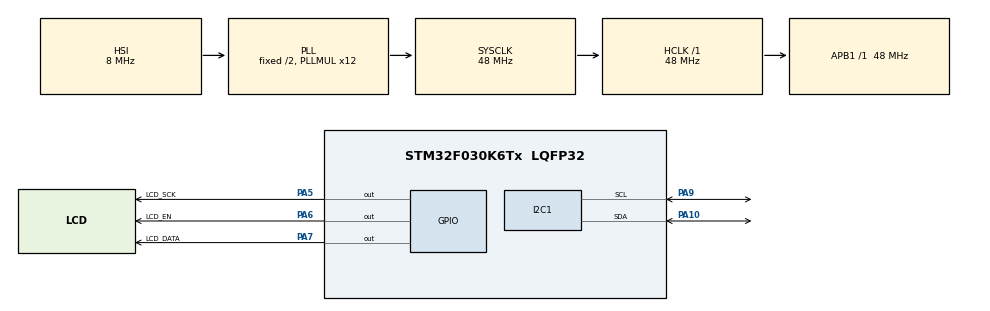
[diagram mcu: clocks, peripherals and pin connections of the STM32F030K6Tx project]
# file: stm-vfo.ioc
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Mcu.Family=STM32F0
Mcu.Name=STM32F030K6Tx
Mcu.Package=LQFP32
PA10.GPIO_Pu=GPIO_PULLUP
PA10.Mode=I2C
PA10.Signal=I2C1_SDA
PA5.GPIO_Label=LCD_SCK
PA5.Signal=GPIO_Output
PA6.GPIO_Label=LCD_EN
PA6.Signal=GPIO_Output
PA7.GPIO_Label=LCD_DATA
PA7.Signal=GPIO_Output
PA9.GPIO_Pu=GPIO_PULLUP
PA9.Mode=I2C
PA9.Signal=I2C1_SCL
ProjectManager.HeapSize=0x200
ProjectManager.StackSize=0x400
ProjectManager.TargetToolchain=STM32CubeIDE
RCC.AHBFreq_Value=48000000
RCC.APB1Freq_Value=48000000
RCC.APB1TimFreq_Value=48000000
RCC.HCLKFreq_Value=48000000
RCC.PLLMUL=RCC_PLL_MUL12
RCC.SYSCLKFreq_VALUE=48000000
RCC.SYSCLKSource=RCC_SYSCLKSOURCE_PLLCLK
board=custom

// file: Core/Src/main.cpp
/* USER CODE BEGIN Header */
/**
  ******************************************************************************
  * @file           : main.c
  * @brief          : Main program body
  ******************************************************************************
  * @attention
  *
  * Copyright (c) 2023 STMicroelectronics.
  * All rights reserved.
  *
  * This software is licensed under terms that can be found in the LICENSE file
  * in the root directory of this software component.
  * If no LICENSE file comes with this software, it is provided AS-IS.
  *
  ******************************************************************************
  */
/* USER CODE END Header */
#include "main.h"

/* USER CODE BEGIN Includes */
#include "lcd.h"
#include "encoder.h"
#include "si5351.h"
/* USER CODE END Includes */

I2C_HandleTypeDef hi2c1;

/* USER CODE BEGIN PV */
LCD lcd;
Si5351 si5351;
/* USER CODE END PV */

void SystemClock_Config(void);
static void MX_GPIO_Init(void);
static void MX_I2C1_Init(void);

int main(void)
{

  /* MCU Configuration--------------------------------------------------------*/

  /* Reset of all peripherals, Initializes the Flash interface and the Systick. */
  HAL_Init();

  /* Configure the system clock */
  SystemClock_Config();

  /* Initialize all configured peripherals */
  MX_GPIO_Init();
  MX_I2C1_Init();
  /* USER CODE BEGIN 2 */
  lcd.init();

  lcd.setCursor(0, 0);
  lcd.print("Hello world");

  si5351.init(&hi2c1, SI5351_CRYSTAL_LOAD_10PF, SI5351_XTAL_FREQ, 0);
  si5351.set_freq(6100000 * 100ULL, SI5351_CLK0);
  si5351.set_freq(3100000 * 100ULL, SI5351_CLK1);
  si5351.set_freq(100000 * 100ULL, SI5351_CLK2);

  si5351.output_enable(SI5351_CLK0, true);
  si5351.output_enable(SI5351_CLK1, true);
  si5351.output_enable(SI5351_CLK2, true);
  /* USER CODE END 2 */

  /* Infinite loop */
  while (1)
  {

  }
}

void SystemClock_Config(void)
{
  RCC_OscInitTypeDef RCC_OscInitStruct = {0};
  RCC_ClkInitTypeDef RCC_ClkInitStruct = {0};
  RCC_PeriphCLKInitTypeDef PeriphClkInit = {0};

  /** Initializes the RCC Oscillators according to the specified parameters
  * in the RCC_OscInitTypeDef structure.
  */
  RCC_OscInitStruct.OscillatorType = RCC_OSCILLATORTYPE_HSI;
  RCC_OscInitStruct.HSIState = RCC_HSI_ON;
  RCC_OscInitStruct.HSICalibrationValue = RCC_HSICALIBRATION_DEFAULT;
  RCC_OscInitStruct.PLL.PLLState = RCC_PLL_ON;
  RCC_OscInitStruct.PLL.PLLSource = RCC_PLLSOURCE_HSI;
  RCC_OscInitStruct.PLL.PLLMUL = RCC_PLL_MUL12;
  RCC_OscInitStruct.PLL.PREDIV = RCC_PREDIV_DIV1;
  if (HAL_RCC_OscConfig(&RCC_OscInitStruct) != HAL_OK)
  {
    Error_Handler();
  }

  /** Initializes the CPU, AHB and APB buses clocks
  */
  RCC_ClkInitStruct.ClockType = RCC_CLOCKTYPE_HCLK|RCC_CLOCKTYPE_SYSCLK
                              |RCC_CLOCKTYPE_PCLK1;
  RCC_ClkInitStruct.SYSCLKSource = RCC_SYSCLKSOURCE_PLLCLK;
  RCC_ClkInitStruct.AHBCLKDivider = RCC_SYSCLK_DIV1;
  RCC_ClkInitStruct.APB1CLKDivider = RCC_HCLK_DIV1;

  if (HAL_RCC_ClockConfig(&RCC_ClkInitStruct, FLASH_LATENCY_1) != HAL_OK)
  {
    Error_Handler();
  }
  PeriphClkInit.PeriphClockSelection = RCC_PERIPHCLK_I2C1;
  PeriphClkInit.I2c1ClockSelection = RCC_I2C1CLKSOURCE_HSI;
  if (HAL_RCCEx_PeriphCLKConfig(&PeriphClkInit) != HAL_OK)
  {
    Error_Handler();
  }
}

static void MX_I2C1_Init(void)
{

  hi2c1.Instance = I2C1;
  hi2c1.Init.Timing = 0x2000090E;
  hi2c1.Init.OwnAddress1 = 0;
  hi2c1.Init.AddressingMode = I2C_ADDRESSINGMODE_7BIT;
  hi2c1.Init.DualAddressMode = I2C_DUALADDRESS_DISABLE;
  hi2c1.Init.OwnAddress2 = 0;
  hi2c1.Init.OwnAddress2Masks = I2C_OA2_NOMASK;
  hi2c1.Init.GeneralCallMode = I2C_GENERALCALL_DISABLE;
  hi2c1.Init.NoStretchMode = I2C_NOSTRETCH_DISABLE;
  if (HAL_I2C_Init(&hi2c1) != HAL_OK)
  {
    Error_Handler();
  }

  /** Configure Analogue filter
  */
  if (HAL_I2CEx_ConfigAnalogFilter(&hi2c1, I2C_ANALOGFILTER_ENABLE) != HAL_OK)
  {
    Error_Handler();
  }

  /** Configure Digital filter
  */
  if (HAL_I2CEx_ConfigDigitalFilter(&hi2c1, 0) != HAL_OK)
  {
    Error_Handler();
  }

}

static void MX_GPIO_Init(void)
{
  GPIO_InitTypeDef GPIO_InitStruct = {0};

  /* GPIO Ports Clock Enable */
  __HAL_RCC_GPIOA_CLK_ENABLE();

  /*Configure GPIO pin Output Level */
  HAL_GPIO_WritePin(GPIOA, LCD_SCK_Pin|LCD_EN_Pin|LCD_DATA_Pin, GPIO_PIN_RESET);

  /*Configure GPIO pins : LCD_SCK_Pin LCD_EN_Pin LCD_DATA_Pin */
  GPIO_InitStruct.Pin = LCD_SCK_Pin|LCD_EN_Pin|LCD_DATA_Pin;
  GPIO_InitStruct.Mode = GPIO_MODE_OUTPUT_PP;
  GPIO_InitStruct.Pull = GPIO_NOPULL;
  GPIO_InitStruct.Speed = GPIO_SPEED_FREQ_LOW;
  HAL_GPIO_Init(GPIOA, &GPIO_InitStruct);

}

void Error_Handler(void)
{
  __disable_irq();
  while (1)
  {
  }
}
